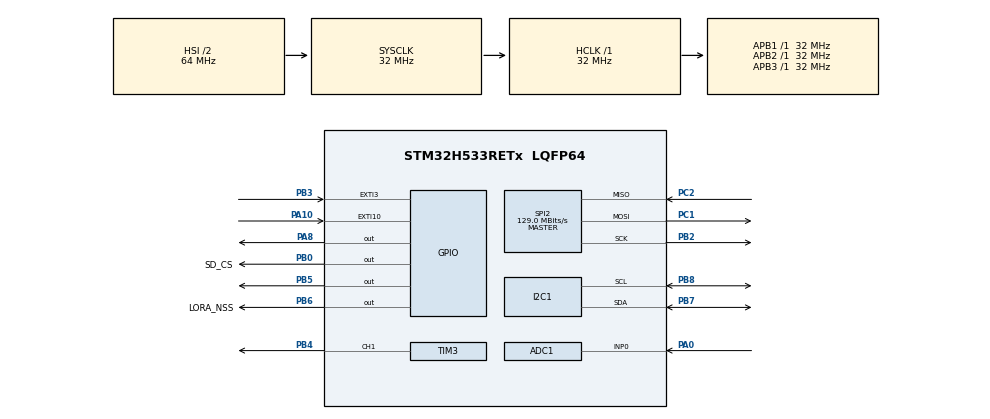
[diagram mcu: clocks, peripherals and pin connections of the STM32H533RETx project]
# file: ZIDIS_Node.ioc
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ADC1.Channel-0\#ChannelRegularConversion=ADC_CHANNEL_0
ADC1.Channel-1\#ChannelRegularConversion=ADC_CHANNEL_0
ADC1.MonitoredBy-0\#ChannelRegularConversion=__NULL
ADC1.MonitoredBy-1\#ChannelRegularConversion=__NULL
ADC1.NbrOfConversion=2
ADC1.NbrOfConversionFlag=1
ADC1.OffsetNumber-0\#ChannelRegularConversion=ADC_OFFSET_NONE
ADC1.OffsetNumber-1\#ChannelRegularConversion=ADC_OFFSET_NONE
ADC1.Rank-0\#ChannelRegularConversion=1
ADC1.Rank-1\#ChannelRegularConversion=2
ADC1.SamplingTime-0\#ChannelRegularConversion=ADC_SAMPLETIME_247CYCLES_5
ADC1.SamplingTime-1\#ChannelRegularConversion=ADC_SAMPLETIME_247CYCLES_5
ADC1.master=1
BOOTPATH.BootPathName=LEGACY
BOOTPATH.UserSelectedBootPath=LEGACY
CORTEX_M33_NS.Number-Cortex_Memory_Protection_Unit_Region0_OTP_RO_AREAS_Settings=MPU_REGION_NUMBER0
CORTEX_M33_NS.default_mode_Activation=1
CORTEX_M33_NS.userName=CORTEX_M33
I2C1.Timing=0x00707CBB
Mcu.Family=STM32H5
Mcu.Name=STM32H533RETx
Mcu.Package=LQFP64
NUCLEO-H533RE.BUTTON=1
NUCLEO-H533RE.Bsp_Common_DEMO=true
NUCLEO-H533RE.LD4=true
NUCLEO-H533RE.VCP=true
NVIC.EXTI10_IRQn=true\:0\:0\:false\:false\:true\:true\:true\:true
NVIC.EXTI3_IRQn=true\:0\:0\:false\:false\:true\:true\:true\:true
NVIC.PriorityGroup=NVIC_PRIORITYGROUP_4
NVIC.TIM6_IRQn=true\:15\:0\:false\:false\:true\:false\:true\:true
NVIC.TimeBase=TIM6_IRQn
NVIC.TimeBaseIP=TIM6
PA0.Signal=ADCx_INP0
PA1.Signal=ADCx_INP1
PA10.Signal=GPXTI10
PA13(JTMS/SWDIO).GPIO_Label=SWDIO
PA13(JTMS/SWDIO).Signal=DEBUG_JTMS-SWDIO
PA14(JTCK/SWCLK).GPIO_Label=SWCLK
PA14(JTCK/SWCLK).Signal=DEBUG_JTCK-SWCLK
PA15(JTDI).GPIO_Label=JTDI
PA15(JTDI).Signal=DEBUG_JTDI
PA2.Signal=USART2_TX
PA3.Signal=USART2_RX
PA8.Signal=GPIO_Output
PB0.GPIO_Label=SD_CS
PB0.Signal=GPIO_Output
PB2.Mode=Full_Duplex_Master
PB2.Signal=SPI2_SCK
PB3(JTDO/TRACESWO).Signal=GPXTI3
PB4(NJTRST).Signal=S_TIM3_CH1
PB5.Signal=GPIO_Output
PB6.GPIO_Label=LORA_NSS
PB6.Signal=GPIO_Output
PB7.Mode=I2C
PB7.Signal=I2C1_SDA
PB8.Mode=I2C
PB8.Signal=I2C1_SCL
PC1.Mode=Full_Duplex_Master
PC1.Signal=SPI2_MOSI
PC2.Mode=Full_Duplex_Master
PC2.Signal=SPI2_MISO
ProjectManager.HeapSize=0x200
ProjectManager.StackSize=0x400
ProjectManager.TargetToolchain=STM32CubeIDE
RCC.ADCFreq_Value=32000000
RCC.AHBFreq_Value=32000000
RCC.APB1Freq_Value=32000000
RCC.APB1TimFreq_Value=32000000
RCC.APB2Freq_Value=32000000
RCC.APB2TimFreq_Value=32000000
RCC.APB3Freq_Value=32000000
RCC.CSI_VALUE=4000000
RCC.CortexFreq_Value=32000000
RCC.EPOD_VALUE=4000000
RCC.HCLKFreq_Value=32000000
RCC.HSE_VALUE=25000000
RCC.HSI48_VALUE=48000000
RCC.HSI_VALUE=64000000
RCC.LSE_VALUE=32768
RCC.LSIRC_VALUE=32000
RCC.PLL2FRACN=0
RCC.PLL3FRACN=0
RCC.PLLFRACN=0
RCC.SYSCLKFreq_VALUE=32000000
RCC.USBFreq_Value=48000000
RCC.VCOOutputFreq_Value=516000000
SH.ADCx_INP0.0=ADC1_INP0,IN0-Single-Ended
SH.ADCx_INP1.0=ADC1_INP1
SH.S_TIM3_CH1.0=TIM3_CH1,PWM Generation1 CH1
SPI2.CalculateBaudRate=129.0 MBits/s
SPI2.Direction=SPI_DIRECTION_2LINES
SPI2.Mode=SPI_MODE_MASTER
SPI2.VirtualType=VM_MASTER
TIM3.Channel-PWM\ Generation1\ CH1=TIM_CHANNEL_1
TIM3.PeriodNoDither=999
TIM3.Prescaler=31
VP_BOOTPATH_VS_BOOTPATH.Mode=BP_Activate
VP_CORTEX_M33_NS_VS_Hclk.Mode=Hclk_Mode
VP_ICACHE_VS_ICACHE.Mode=DirectMappedCache
VP_MEMORYMAP_VS_MEMORYMAP.Mode=CurAppReg
VP_NUCLEO-H533RE_VS_BSP_COMMON.Mode=COMMON
VP_PWR_VS_LPOM.Mode=PowerOptimisation
VP_PWR_VS_SECSignals.Mode=Security/Privilege
VP_SYS_VS_tim6.Mode=TIM6
VP_TIM3_VS_ClockSourceINT.Mode=Internal
board=NUCLEO-H533RE

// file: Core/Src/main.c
/* USER CODE BEGIN Header */
/**
  ******************************************************************************
  * @file           : main.c
  * @brief          : Main program body
  ******************************************************************************
  * @attention
  *
  * Copyright (c) 2026 STMicroelectronics.
  * All rights reserved.
  *
  * This software is licensed under terms that can be found in the LICENSE file
  * in the root directory of this software component.
  * If no LICENSE file comes with this software, it is provided AS-IS.
  *
  ******************************************************************************
  */
/* USER CODE END Header */
#include "main.h"
#include <stdio.h> // Added for printf

/* USER CODE BEGIN Includes */
#include <tk/tkernel.h>
#include "zidis_core/config.h"
#include "zidis_core/dsp.h"
#include "zidis_core/mlp.h"
#include "zidis_core/protocol.h"
#include "zidis_core/seismic_gen.h"
#include "zidis_core/real_earthquake_data.h"
#include <stdlib.h>
#include <math.h>
#include <tm/tmonitor.h>
/* USER CODE END Includes */

COM_InitTypeDef BspCOMInit;
__IO uint32_t BspButtonState = BUTTON_RELEASED;
ADC_HandleTypeDef hadc1;

I2C_HandleTypeDef hi2c1;

SPI_HandleTypeDef hspi2;

TIM_HandleTypeDef htim3;

/* USER CODE BEGIN PV */
// Variables to store your sensor readings
uint32_t soil_moisture = 0;
uint32_t water_level = 0;
/* USER CODE END PV */

void SystemClock_Config(void);
static void MPU_Config(void);
static void MX_GPIO_Init(void);
static void MX_ADC1_Init(void);
static void MX_ICACHE_Init(void);
static void MX_TIM3_Init(void);
static void MX_I2C1_Init(void);
static void MX_SPI2_Init(void);
/* USER CODE BEGIN PFP */
void UART_Print(const char* str);
/* USER CODE END PFP */

int main(void)
{

  /* MCU Configuration--------------------------------------------------------*/

  /* MPU Configuration--------------------------------------------------------*/
  MPU_Config();

  /* Reset of all peripherals, Initializes the Flash interface and the Systick. */
  HAL_Init();

  /* Configure the system clock */
  SystemClock_Config();

  /* Initialize all configured peripherals */
  MX_GPIO_Init();
  MX_ADC1_Init();
  MX_ICACHE_Init();
  MX_TIM3_Init();
  MX_I2C1_Init();
  MX_SPI2_Init();

  /* USER CODE BEGIN 2 */

  // 1. Start the PWM Siren on TIM3 Channel 1
  HAL_TIM_PWM_Start(&htim3, TIM_CHANNEL_1);

  // 2. Hardware Power-On Self-Test (POST): 150ms test chirp at 1 kHz to verify buzzer wiring
  __HAL_TIM_SET_COMPARE(&htim3, TIM_CHANNEL_1, 500);
  HAL_Delay(150);
  __HAL_TIM_SET_COMPARE(&htim3, TIM_CHANNEL_1, 0); // Silence until earthquake triggers

  /* USER CODE END 2 */

  /* Initialize leds */
  BSP_LED_Init(LED_GREEN);

  /* Initialize USER push-button, will be used to trigger an interrupt each time it's pressed.*/
  BSP_PB_Init(BUTTON_USER, BUTTON_MODE_EXTI);

  /* Initialize COM1 port (115200, 8 bits (7-bit data + 1 stop bit), no parity */
  BspCOMInit.BaudRate   = 115200;
  BspCOMInit.WordLength = COM_WORDLENGTH_8B;
  BspCOMInit.StopBits   = COM_STOPBITS_1;
  BspCOMInit.Parity     = COM_PARITY_NONE;
  BspCOMInit.HwFlowCtl  = COM_HWCONTROL_NONE;
  if (BSP_COM_Init(COM1, &BspCOMInit) != BSP_ERROR_NONE)
  {
    Error_Handler();
  }

  /* USER CODE BEGIN BSP */

  /* -- Sample board code to send message over COM1 port ---- */
  UART_Print("\r\n=======================================\r\n");
  UART_Print(" ZIDIS Earthquake Node - System Booting \r\n");
  UART_Print("=======================================\r\n");

  /* -- Sample board code to switch on leds ---- */
  BSP_LED_Off(LED_GREEN);

  // --- BOOT uT-KERNEL ---
  extern void knl_start_mtkernel(void);
  knl_start_mtkernel(); // Jump into the RTOS (Never returns!)

  /* USER CODE END BSP */

  /* Infinite loop */
  while (1)
  {

  }
}

void SystemClock_Config(void)
{
  RCC_OscInitTypeDef RCC_OscInitStruct = {0};
  RCC_ClkInitTypeDef RCC_ClkInitStruct = {0};

  /** Configure the main internal regulator output voltage
  */
  __HAL_PWR_VOLTAGESCALING_CONFIG(PWR_REGULATOR_VOLTAGE_SCALE3);

  while(!__HAL_PWR_GET_FLAG(PWR_FLAG_VOSRDY)) {}

  /** Initializes the RCC Oscillators according to the specified parameters
  * in the RCC_OscInitTypeDef structure.
  */
  RCC_OscInitStruct.OscillatorType = RCC_OSCILLATORTYPE_HSI|RCC_OSCILLATORTYPE_CSI;
  RCC_OscInitStruct.HSIState = RCC_HSI_ON;
  RCC_OscInitStruct.HSIDiv = RCC_HSI_DIV2;
  RCC_OscInitStruct.HSICalibrationValue = RCC_HSICALIBRATION_DEFAULT;
  RCC_OscInitStruct.CSIState = RCC_CSI_ON;
  RCC_OscInitStruct.CSICalibrationValue = RCC_CSICALIBRATION_DEFAULT;
  RCC_OscInitStruct.PLL.PLLState = RCC_PLL_ON;
  RCC_OscInitStruct.PLL.PLLSource = RCC_PLL1_SOURCE_CSI;
  RCC_OscInitStruct.PLL.PLLM = 1;
  RCC_OscInitStruct.PLL.PLLN = 129;
  RCC_OscInitStruct.PLL.PLLP = 2;
  RCC_OscInitStruct.PLL.PLLQ = 2;
  RCC_OscInitStruct.PLL.PLLR = 2;
  RCC_OscInitStruct.PLL.PLLRGE = RCC_PLL1_VCIRANGE_2;
  RCC_OscInitStruct.PLL.PLLVCOSEL = RCC_PLL1_VCORANGE_WIDE;
  RCC_OscInitStruct.PLL.PLLFRACN = 0;
  if (HAL_RCC_OscConfig(&RCC_OscInitStruct) != HAL_OK)
  {
    Error_Handler();
  }

  /** Initializes the CPU, AHB and APB buses clocks
  */
  RCC_ClkInitStruct.ClockType = RCC_CLOCKTYPE_HCLK|RCC_CLOCKTYPE_SYSCLK
                              |RCC_CLOCKTYPE_PCLK1|RCC_CLOCKTYPE_PCLK2
                              |RCC_CLOCKTYPE_PCLK3;
  RCC_ClkInitStruct.SYSCLKSource = RCC_SYSCLKSOURCE_HSI;
  RCC_ClkInitStruct.AHBCLKDivider = RCC_SYSCLK_DIV1;
  RCC_ClkInitStruct.APB1CLKDivider = RCC_HCLK_DIV1;
  RCC_ClkInitStruct.APB2CLKDivider = RCC_HCLK_DIV1;
  RCC_ClkInitStruct.APB3CLKDivider = RCC_HCLK_DIV1;

  if (HAL_RCC_ClockConfig(&RCC_ClkInitStruct, FLASH_LATENCY_1) != HAL_OK)
  {
    Error_Handler();
  }

  /** Configure the programming delay
  */
  __HAL_FLASH_SET_PROGRAM_DELAY(FLASH_PROGRAMMING_DELAY_0);
}

static void MX_ADC1_Init(void)
{

  ADC_ChannelConfTypeDef sConfig = {0};

  /** Common config
  */
  hadc1.Instance = ADC1;
  hadc1.Init.ClockPrescaler = ADC_CLOCK_ASYNC_DIV1;
  hadc1.Init.Resolution = ADC_RESOLUTION_12B;
  hadc1.Init.DataAlign = ADC_DATAALIGN_RIGHT;
  hadc1.Init.ScanConvMode = ADC_SCAN_ENABLE;
  hadc1.Init.EOCSelection = ADC_EOC_SINGLE_CONV;
  hadc1.Init.LowPowerAutoWait = DISABLE;
  hadc1.Init.ContinuousConvMode = DISABLE;
  hadc1.Init.NbrOfConversion = 2;
  hadc1.Init.DiscontinuousConvMode = DISABLE;
  hadc1.Init.ExternalTrigConv = ADC_SOFTWARE_START;
  hadc1.Init.ExternalTrigConvEdge = ADC_EXTERNALTRIGCONVEDGE_NONE;
  hadc1.Init.DMAContinuousRequests = DISABLE;
  hadc1.Init.SamplingMode = ADC_SAMPLING_MODE_NORMAL;
  hadc1.Init.Overrun = ADC_OVR_DATA_PRESERVED;
  hadc1.Init.OversamplingMode = DISABLE;
  if (HAL_ADC_Init(&hadc1) != HAL_OK)
  {
    Error_Handler();
  }

  /** Configure Regular Channel
  */
  sConfig.Channel = ADC_CHANNEL_0;
  sConfig.Rank = ADC_REGULAR_RANK_1;
  sConfig.SamplingTime = ADC_SAMPLETIME_247CYCLES_5;
  sConfig.SingleDiff = ADC_SINGLE_ENDED;
  sConfig.OffsetNumber = ADC_OFFSET_NONE;
  sConfig.Offset = 0;
  if (HAL_ADC_ConfigChannel(&hadc1, &sConfig) != HAL_OK)
  {
    Error_Handler();
  }

  /** Configure Regular Channel
  */
  sConfig.Rank = ADC_REGULAR_RANK_2;
  if (HAL_ADC_ConfigChannel(&hadc1, &sConfig) != HAL_OK)
  {
    Error_Handler();
  }

}

static void MX_I2C1_Init(void)
{

  hi2c1.Instance = I2C1;
  hi2c1.Init.Timing = 0x00707CBB;
  hi2c1.Init.OwnAddress1 = 0;
  hi2c1.Init.AddressingMode = I2C_ADDRESSINGMODE_7BIT;
  hi2c1.Init.DualAddressMode = I2C_DUALADDRESS_DISABLE;
  hi2c1.Init.OwnAddress2 = 0;
  hi2c1.Init.OwnAddress2Masks = I2C_OA2_NOMASK;
  hi2c1.Init.GeneralCallMode = I2C_GENERALCALL_DISABLE;
  hi2c1.Init.NoStretchMode = I2C_NOSTRETCH_DISABLE;
  if (HAL_I2C_Init(&hi2c1) != HAL_OK)
  {
    Error_Handler();
  }

  /** Configure Analogue filter
  */
  if (HAL_I2CEx_ConfigAnalogFilter(&hi2c1, I2C_ANALOGFILTER_ENABLE) != HAL_OK)
  {
    Error_Handler();
  }

  /** Configure Digital filter
  */
  if (HAL_I2CEx_ConfigDigitalFilter(&hi2c1, 0) != HAL_OK)
  {
    Error_Handler();
  }

}

static void MX_ICACHE_Init(void)
{

  /** Enable instruction cache in 1-way (direct mapped cache)
  */
  if (HAL_ICACHE_ConfigAssociativityMode(ICACHE_1WAY) != HAL_OK)
  {
    Error_Handler();
  }
  if (HAL_ICACHE_Enable() != HAL_OK)
  {
    Error_Handler();
  }

}

static void MX_SPI2_Init(void)
{

  /* SPI2 parameter configuration*/
  hspi2.Instance = SPI2;
  hspi2.Init.Mode = SPI_MODE_MASTER;
  hspi2.Init.Direction = SPI_DIRECTION_2LINES;
  hspi2.Init.DataSize = SPI_DATASIZE_4BIT;
  hspi2.Init.CLKPolarity = SPI_POLARITY_LOW;
  hspi2.Init.CLKPhase = SPI_PHASE_1EDGE;
  hspi2.Init.NSS = SPI_NSS_SOFT;
  hspi2.Init.BaudRatePrescaler = SPI_BAUDRATEPRESCALER_2;
  hspi2.Init.FirstBit = SPI_FIRSTBIT_MSB;
  hspi2.Init.TIMode = SPI_TIMODE_DISABLE;
  hspi2.Init.CRCCalculation = SPI_CRCCALCULATION_DISABLE;
  hspi2.Init.CRCPolynomial = 0x7;
  hspi2.Init.NSSPMode = SPI_NSS_PULSE_ENABLE;
  hspi2.Init.NSSPolarity = SPI_NSS_POLARITY_LOW;
  hspi2.Init.FifoThreshold = SPI_FIFO_THRESHOLD_01DATA;
  hspi2.Init.MasterSSIdleness = SPI_MASTER_SS_IDLENESS_00CYCLE;
  hspi2.Init.MasterInterDataIdleness = SPI_MASTER_INTERDATA_IDLENESS_00CYCLE;
  hspi2.Init.MasterReceiverAutoSusp = SPI_MASTER_RX_AUTOSUSP_DISABLE;
  hspi2.Init.MasterKeepIOState = SPI_MASTER_KEEP_IO_STATE_DISABLE;
  hspi2.Init.IOSwap = SPI_IO_SWAP_DISABLE;
  hspi2.Init.ReadyMasterManagement = SPI_RDY_MASTER_MANAGEMENT_INTERNALLY;
  hspi2.Init.ReadyPolarity = SPI_RDY_POLARITY_HIGH;
  if (HAL_SPI_Init(&hspi2) != HAL_OK)
  {
    Error_Handler();
  }

}

static void MX_TIM3_Init(void)
{

  TIM_ClockConfigTypeDef sClockSourceConfig = {0};
  TIM_MasterConfigTypeDef sMasterConfig = {0};
  TIM_OC_InitTypeDef sConfigOC = {0};

  htim3.Instance = TIM3;
  htim3.Init.Prescaler = 31;
  htim3.Init.CounterMode = TIM_COUNTERMODE_UP;
  htim3.Init.Period = 999;
  htim3.Init.ClockDivision = TIM_CLOCKDIVISION_DIV1;
  htim3.Init.AutoReloadPreload = TIM_AUTORELOAD_PRELOAD_DISABLE;
  if (HAL_TIM_Base_Init(&htim3) != HAL_OK)
  {
    Error_Handler();
  }
  sClockSourceConfig.ClockSource = TIM_CLOCKSOURCE_INTERNAL;
  if (HAL_TIM_ConfigClockSource(&htim3, &sClockSourceConfig) != HAL_OK)
  {
    Error_Handler();
  }
  if (HAL_TIM_PWM_Init(&htim3) != HAL_OK)
  {
    Error_Handler();
  }
  sMasterConfig.MasterOutputTrigger = TIM_TRGO_RESET;
  sMasterConfig.MasterSlaveMode = TIM_MASTERSLAVEMODE_DISABLE;
  if (HAL_TIMEx_MasterConfigSynchronization(&htim3, &sMasterConfig) != HAL_OK)
  {
    Error_Handler();
  }
  sConfigOC.OCMode = TIM_OCMODE_PWM1;
  sConfigOC.Pulse = 0;
  sConfigOC.OCPolarity = TIM_OCPOLARITY_HIGH;
  sConfigOC.OCFastMode = TIM_OCFAST_DISABLE;
  if (HAL_TIM_PWM_ConfigChannel(&htim3, &sConfigOC, TIM_CHANNEL_1) != HAL_OK)
  {
    Error_Handler();
  }
  HAL_TIM_MspPostInit(&htim3);

}

static void MX_GPIO_Init(void)
{
  GPIO_InitTypeDef GPIO_InitStruct = {0};

  /* GPIO Ports Clock Enable */
  __HAL_RCC_GPIOC_CLK_ENABLE();
  __HAL_RCC_GPIOA_CLK_ENABLE();
  __HAL_RCC_GPIOB_CLK_ENABLE();

  /*Configure GPIO pin Output Level */
  HAL_GPIO_WritePin(GPIOB, SD_CS_Pin|GPIO_PIN_5|LORA_NSS_Pin, GPIO_PIN_RESET);

  /*Configure GPIO pin Output Level */
  HAL_GPIO_WritePin(GPIOA, GPIO_PIN_8, GPIO_PIN_RESET);

  /*Configure GPIO pins : SD_CS_Pin PB5 LORA_NSS_Pin */
  GPIO_InitStruct.Pin = SD_CS_Pin|GPIO_PIN_5|LORA_NSS_Pin;
  GPIO_InitStruct.Mode = GPIO_MODE_OUTPUT_PP;
  GPIO_InitStruct.Pull = GPIO_NOPULL;
  GPIO_InitStruct.Speed = GPIO_SPEED_FREQ_LOW;
  HAL_GPIO_Init(GPIOB, &GPIO_InitStruct);

  /*Configure GPIO pin : PA8 */
  GPIO_InitStruct.Pin = GPIO_PIN_8;
  GPIO_InitStruct.Mode = GPIO_MODE_OUTPUT_PP;
  GPIO_InitStruct.Pull = GPIO_NOPULL;
  GPIO_InitStruct.Speed = GPIO_SPEED_FREQ_LOW;
  HAL_GPIO_Init(GPIOA, &GPIO_InitStruct);

  /*Configure GPIO pin : PA10 */
  GPIO_InitStruct.Pin = GPIO_PIN_10;
  GPIO_InitStruct.Mode = GPIO_MODE_IT_RISING;
  GPIO_InitStruct.Pull = GPIO_NOPULL;
  HAL_GPIO_Init(GPIOA, &GPIO_InitStruct);

  /*Configure GPIO pin : PB3 */
  GPIO_InitStruct.Pin = GPIO_PIN_3;
  GPIO_InitStruct.Mode = GPIO_MODE_IT_RISING;
  GPIO_InitStruct.Pull = GPIO_NOPULL;
  HAL_GPIO_Init(GPIOB, &GPIO_InitStruct);

  /* EXTI interrupt init*/
  HAL_NVIC_SetPriority(EXTI3_IRQn, 0, 0);
  HAL_NVIC_EnableIRQ(EXTI3_IRQn);

  HAL_NVIC_SetPriority(EXTI10_IRQn, 0, 0);
  HAL_NVIC_EnableIRQ(EXTI10_IRQn);

}

/* MPU Configuration */

void MPU_Config(void)
{
  MPU_Region_InitTypeDef MPU_InitStruct = {0};
  MPU_Attributes_InitTypeDef MPU_AttributesInit = {0};

  /* Disables the MPU */
  HAL_MPU_Disable();

  /** Initializes and configures the Region 0 and the memory to be protected
  */
  MPU_InitStruct.Enable = MPU_REGION_ENABLE;
  MPU_InitStruct.Number = MPU_REGION_NUMBER0;
  MPU_InitStruct.BaseAddress = 0x08FFF000;
  MPU_InitStruct.LimitAddress = 0x08FFFFFF;
  MPU_InitStruct.AttributesIndex = MPU_ATTRIBUTES_NUMBER0;
  MPU_InitStruct.AccessPermission = MPU_REGION_ALL_RO;
  MPU_InitStruct.DisableExec = MPU_INSTRUCTION_ACCESS_DISABLE;
  MPU_InitStruct.IsShareable = MPU_ACCESS_NOT_SHAREABLE;

  HAL_MPU_ConfigRegion(&MPU_InitStruct);

  /** Initializes and configures the Attribute 0 and the memory to be protected
  */
  MPU_AttributesInit.Number = MPU_ATTRIBUTES_NUMBER0;
  MPU_AttributesInit.Attributes = INNER_OUTER(MPU_NOT_CACHEABLE);

  HAL_MPU_ConfigMemoryAttributes(&MPU_AttributesInit);
  /* Enables the MPU */
  HAL_MPU_Enable(MPU_PRIVILEGED_DEFAULT);

}

void HAL_TIM_PeriodElapsedCallback(TIM_HandleTypeDef *htim)
{
  if (htim->Instance == TIM6)
  {
    HAL_IncTick();
  }
}

/**
  * @brief  BSP Push Button callback
  * @param  Button Specifies the pressed button
  * @retval None
  */
void BSP_PB_Callback(Button_TypeDef Button)
{
  if (Button == BUTTON_USER)
  {
    BspButtonState = BUTTON_PRESSED;
  }
}

void Error_Handler(void)
{
  __disable_irq();
  while (1)
  {
  }
}

/* USER CODE BEGIN 4 */

/* ========================================================================= */
/*                          RTOS OBJECT DEFINITIONS                          */
/* ========================================================================= */
ID flg_detect;     // Event flag to wake up T_DETECT
ID mbf_claim;      // Message buffer for internal claims
ID tsk_sense;
ID tsk_detect;
ID tsk_consensus;
ID tsk_net;
ID tsk_diag;

// Cyclic handler ID
ID cyc_sense;

// Global State
DspState_t g_dsp_state;
ProtocolState_t g_proto_state;
SeismicGenState_t g_seismic_gen;
AnalyserState_t g_analyser_state;

// User I/O & Watchdog Tracking (#13, #15)
volatile bool g_alarm_silenced = false;
volatile uint32_t g_sense_heartbeat = 0;

// Helper to get time in ms
static uint32_t get_system_time_ms(void) {
    SYSTIM sys_time;
    tk_get_otm(&sys_time);
    return sys_time.lo;
}

// ── Autonomous Sensor Data Generation ──
// When USE_REAL_EARTHQUAKE_DATA is 1, streams recorded 2011 Tohoku Mw 9.1 P-wave data
// When 0, uses SeismicGen module for synthetic P-wave simulation.
static float get_sensor_data(uint32_t time_ms) {
#if USE_REAL_EARTHQUAKE_DATA
    static uint32_t sample_idx = 0;
    float s = real_earthquake_samples[sample_idx];
    sample_idx = (sample_idx + 1) % REAL_EARTHQUAKE_SAMPLE_COUNT;
    return s;
#else
    return SeismicGen_GetSample(&g_seismic_gen, time_ms);
#endif
}

/* ========================================================================= */
/*                            uT-KERNEL TASKS                                */
/* ========================================================================= */

extern UART_HandleTypeDef hcom_uart[];
void knl_hardfault_handler(void) {
    char* msg = "\r\n*** HARD FAULT ***\r\n";
    int len = 0; while(msg[len]) len++;
    HAL_UART_Transmit(&hcom_uart[0], (uint8_t*)msg, len, 1000);
    while(1);
}

// Custom UART Print to bypass Newlib printf completely
extern UART_HandleTypeDef hcom_uart[];
void UART_Print(const char* str) {
    int len = 0;
    while(str[len]) len++;
    HAL_UART_Transmit(&hcom_uart[0], (uint8_t*)str, len, 1000);
}

// Send a sample value over UART for live plotting
// Format: "D:<integer>\r\n" where integer = sample * 1000
// This avoids printf/snprintf entirely.
static void UART_PrintSample(float sample) {
    char buf[16];
    int idx = 0;
    buf[idx++] = 'D';
    buf[idx++] = ':';

    // Convert float to integer (scale by 1000 for 3 decimal places)
    int val = (int)(sample * 1000.0f);

    // Handle negative
    if (val < 0) {
        buf[idx++] = '-';
        val = -val;
    }

    // Convert integer to string (reverse then flip)
    if (val == 0) {
        buf[idx++] = '0';
    } else {
        char digits[8];
        int d = 0;
        while (val > 0 && d < 7) {
            digits[d++] = '0' + (val % 10);
            val /= 10;
        }
        // Reverse
        for (int i = d - 1; i >= 0; i--) {
            buf[idx++] = digits[i];
        }
    }
    buf[idx++] = '\r';
    buf[idx++] = '\n';

    HAL_UART_Transmit(&hcom_uart[0], (uint8_t*)buf, idx, 100);
}

// --- 10ms Cyclic Handler ---
void SenseCyclicHandler(void *exinf) {
    // Wake up T_SENSE
    tk_set_flg(flg_detect, 0x02);
}

// --- T_SENSE Task (Priority 10 - Medium) ---
void Task_Sense(INT stacd, void *exinf) {
    UART_Print("[T_SENSE] Task Started (Phase 2 - Autonomous Mode).\r\n");
    UINT flgptn;

    while(1) {
        // Wait for 10ms cyclic handler signal
        tk_wai_flg(flg_detect, 0x02, TWF_ANDW | TWF_CLR, &flgptn, TMO_FEVR);

        uint32_t now = get_system_time_ms();
        g_sense_heartbeat = now; // Watchdog heartbeat (#13)
        float sample = get_sensor_data(now);

        // Stream sample over UART for live plotting (format: "D:<value>\r\n")
        UART_PrintSample(sample);

        // ── Run the Seismic Analyser on every sample ──
        bool anomaly = Analyser_ProcessSample(&g_analyser_state, sample, now);

        // Sensor fault diagnostics (#13)
        if (g_analyser_state.fault_status != SENSOR_OK) {
            static uint32_t last_fault_report = 0;
            if (now - last_fault_report > 3000) {
                if (g_analyser_state.fault_status == SENSOR_FAULT_FLATLINE)
                    UART_Print("[FAULT] SENSOR FLATLINE: Zero signal variance detected (check sensor wire)!\r\n");
                else if (g_analyser_state.fault_status == SENSOR_FAULT_CLIPPED)
                    UART_Print("[FAULT] SENSOR SATURATION: Signal pegged at rail!\r\n");
                else
                    UART_Print("[FAULT] SENSOR DATA INVALID: NaN/Inf reading!\r\n");
                last_fault_report = now;
            }
        }

        if (anomaly) {
            // Real detection latency and S-P warning calculation (#5)
            char msg[140];
            int len = snprintf(msg, sizeof(msg),
                "[T_SENSE] *** ANOMALY DETECTED *** Latency: %lu ms | Warning: 3.0s @25km, 6.0s @50km, 12.0s @100km (0.12 s/km)\r\n",
                (unsigned long)g_analyser_state.detection_latency_ms);
            HAL_UART_Transmit(&hcom_uart[0], (uint8_t*)msg, len, 100);
        }

        // Process sample through STA/LTA + windowing for feature extraction
        // The DSP module collects 128 samples after trigger for MLP classification
        if (Dsp_ProcessSample(&g_dsp_state, sample)) {
            // Window is full! Wake up T_DETECT
            UART_Print("[T_SENSE] Window full -> waking T_DETECT\r\n");
            tk_set_flg(flg_detect, 0x01);
        }
    }
}

// --- T_DETECT Task (Priority 5) ---
void Task_Detect(INT stacd, void *exinf) {
    UART_Print("[T_DETECT] Task Started.\r\n");
    UINT flgptn;
    ZidisFeatures_t features;

    while(1) {
        // Wait for T_SENSE to signal window is full
        tk_wai_flg(flg_detect, 0x01, TWF_ANDW | TWF_CLR, &flgptn, TMO_FEVR);

        UART_Print("[T_DETECT] Triggered! Extracting features...\r\n");

        Dsp_ExtractFeatures(&g_dsp_state, &features);

        float confidence;
        EventClass_t evt = Mlp_Classify(&features, &confidence);

        if (evt == EVENT_EARTHQUAKE) {
            UART_Print("[T_DETECT] Earthquake Event Detected!\r\n");
            ClaimPacket_t claim;
            claim.source_node = ZIDIS_NODE_ID_SELF;
            claim.sequence_num = get_system_time_ms();
            claim.timestamp_ms = get_system_time_ms();
            claim.event_class = evt;
            claim.confidence = confidence;

            // Send to consensus task (and to T_NET to broadcast)
            tk_snd_mbf(mbf_claim, &claim, sizeof(ClaimPacket_t), TMO_FEVR);
        }

        // Reset window state in DSP
        g_dsp_state.window_full = false;
        g_dsp_state.window_idx = 0;
    }
}

// --- T_CONSENSUS Task (Priority 7) ---
void Task_Consensus(INT stacd, void *exinf) {
    UART_Print("[T_CONSENSUS] Task Started (Phase 2 - Autonomous Mode).\r\n");
    ClaimPacket_t claim;
    AlertLevel_t last_alert = ALERT_NONE;

    while(1) {
        // We can wait with timeout to run periodic ticks
        if (tk_rcv_mbf(mbf_claim, &claim, 100) >= 0) {
            // Received a claim (from local T_DETECT or remote T_NET)
            Protocol_OnClaimRx(&g_proto_state, &claim);
        }

        // Tick protocol
        Protocol_Tick(&g_proto_state, get_system_time_ms());

        // Evaluate Quorum
        AlertLevel_t new_alert = Protocol_EvaluateQuorum(&g_proto_state);

        // Check User Push-Button (GPIO PC13) for Alarm Silence (#15)
        if (BspButtonState == BUTTON_PRESSED || BSP_PB_GetState(BUTTON_USER) == BUTTON_PRESSED) {
            BspButtonState = BUTTON_RELEASED;
            if (last_alert >= ALERT_L1_LOCAL && !g_alarm_silenced) {
                g_alarm_silenced = true;
                __HAL_TIM_SET_COMPARE(&htim3, TIM_CHANNEL_1, 0); // Mute siren
                UART_Print("[USER_IO] User Push-Button Pressed -> Siren Muted (Alarm Acknowledged).\r\n");
            }
        }

        // Hold-Off Before Clearing Alarm (#15)
        // If quorum drops to NONE while alert was active, hold the alarm for ALARM_HOLD_OFF_MS of quiet!
        static uint32_t quiet_onset_ms = 0;
        uint32_t now = get_system_time_ms();
        if (new_alert == ALERT_NONE && last_alert >= ALERT_L1_LOCAL) {
            if (quiet_onset_ms == 0) {
                quiet_onset_ms = now;
            }
            if (now - quiet_onset_ms < ALARM_HOLD_OFF_MS) {
                new_alert = last_alert; // Hold off clearing
            }
        } else {
            quiet_onset_ms = 0;
        }

        if (new_alert != last_alert) {
             if (new_alert >= ALERT_L1_LOCAL) {
                 if (new_alert >= ALERT_L2_CORROBORATED) {
                     UART_Print("[T_CONSENSUS] *** ALERT: CORROBORATED (FULL SIREN ACTIVE) ***\r\n");
                     if (!g_alarm_silenced) {
                         __HAL_TIM_SET_COMPARE(&htim3, TIM_CHANNEL_1, 500); // Full Siren: 50% duty
                     }
                     BSP_LED_On(LED_GREEN);
                 } else {
                     // Soft alert on preliminary/local detection (#5)
                     UART_Print("[T_CONSENSUS] *** ALERT: LOCAL (Soft Warning Beep) ***\r\n");
                     if (!g_alarm_silenced) {
                         __HAL_TIM_SET_COMPARE(&htim3, TIM_CHANNEL_1, 50);  // Soft beep: 5% duty
                     }
                     BSP_LED_Toggle(LED_GREEN);
                 }
             } else {
                 UART_Print("[T_CONSENSUS] *** ALERT: CLEAR / NORMAL (Hold-off expired) ***\r\n");
                 __HAL_TIM_SET_COMPARE(&htim3, TIM_CHANNEL_1, 0); // Siren OFF
                 BSP_LED_Off(LED_GREEN);
                 g_alarm_silenced = false; // Reset silence state for next event
             }
             last_alert = new_alert;
        }

        // Phase 2: No button-based state management needed.
        // Alarm is triggered and cleared automatically by the analyser + consensus.
    }
}

// --- T_NET Task (Priority 3) ---
void Task_Net(INT stacd, void *exinf) {
    UART_Print("[T_NET] Task Started (Phase 2 - Autonomous Mode).\r\n");
    uint32_t last_beacon = 0;

    while(1) {
        uint32_t now = get_system_time_ms();

        // Send Beacon every 1000ms
        if (now - last_beacon >= 1000) {
            BeaconPacket_t bcn;
            bcn.source_node = ZIDIS_NODE_ID_SELF;
            bcn.sequence_num = now;
            bcn.timestamp_ms = now;

            // Mock network: just feed it back to protocol as if it's alive
            Protocol_OnBeaconRx(&g_proto_state, &bcn);

            // Also pretend node 2 sent a beacon
            BeaconPacket_t bcn2;
            bcn2.source_node = 2;
            bcn2.sequence_num = now;
            bcn2.timestamp_ms = now;
            Protocol_OnBeaconRx(&g_proto_state, &bcn2);

            last_beacon = now;
        }

        // ── Auto-corroborate: when analyser detects anomaly, simulate node 2 agreeing ──
        // In Phase 2, this replaces the button-based mock claim.
        // When our local analyser fires, we simulate a remote node also detecting it.
        if (g_analyser_state.anomaly_detected) {
             ClaimPacket_t claim2;
             claim2.source_node = 2;
             claim2.sequence_num = now;
             claim2.timestamp_ms = now;
             claim2.event_class = EVENT_EARTHQUAKE;
             claim2.confidence = 0.85f;
             tk_snd_mbf(mbf_claim, &claim2, sizeof(ClaimPacket_t), TMO_FEVR);
             tk_dly_tsk(100);
        }

        tk_dly_tsk(100);
    }
}

// --- T_DIAG Task (Priority 15) ---
void Task_Diag(INT stacd, void *exinf) {
    UART_Print("[T_DIAG] Task Started (Watchdog Active).\r\n");
    int count = 0;
    while(1) {
        tk_dly_tsk(3000); // 3 seconds
        count++;
        uint32_t now = get_system_time_ms();

        // Software Watchdog (#13): Verify Task_Sense is executing
        if (g_sense_heartbeat > 0 && (now - g_sense_heartbeat > 3000)) {
            UART_Print("[WATCHDOG] WARNING: Task_Sense stalled (>3000ms without sample)!\r\n");
        }

        if (count == 1) UART_Print("[T_DIAG] System Healthy - μT-Kernel 3.0 Alive\r\n");
    }
}

// --- USERMAIN (Initial Thread Entry Point) ---
EXPORT INT usermain(void) {
    // Debug: If we reach here, turn on the LED and spin forever.
    // If the LED turns on but nothing prints, we know printf is crashing it.
    BSP_LED_On(LED_GREEN);

    // Direct HAL output test
    extern UART_HandleTypeDef hcom_uart[];
    char test_msg[] = "\r\n[DIRECT HAL] usermain is alive!\r\n";
    HAL_UART_Transmit(&hcom_uart[0], (uint8_t*)test_msg, sizeof(test_msg)-1, 1000);

    UART_Print("\r\n--- ZIDIS Earthquake EWS Phase 2 (Autonomous Mode) ---\r\n");
    UART_Print("   Seismic Generator: ON (random events)\r\n");
    UART_Print("   Seismic Analyser:  ON (multi-criteria)\r\n");
    UART_Print("   Button:            NOT USED\r\n");
    UART_Print("================================================\r\n");

    // Initialize Subsystems
    Dsp_Init(&g_dsp_state);
#if USE_REAL_EARTHQUAKE_DATA
    g_dsp_state.lta = 0.0005f;
    g_dsp_state.sta = 0.0005f;
#else
    g_dsp_state.lta = 0.25f;
    g_dsp_state.sta = 0.25f;
#endif
    Mlp_Init();
    Protocol_Init(&g_proto_state);

#if USE_REAL_EARTHQUAKE_DATA
    UART_Print("[BOOT] Input: Real 2011 Tohoku Mw 9.1 Earthquake Replay ON.\r\n");
#else
    // ── Phase 2: Initialize autonomous seismic generator ──
    SeismicGen_Init(&g_seismic_gen, HAL_GetTick()); // Seed with current tick
    UART_Print("[BOOT] Seismic Generator initialized.\r\n");
#endif

    // ── Phase 2: Initialize seismic analyser ──
    Analyser_Init(&g_analyser_state);
#if USE_REAL_EARTHQUAKE_DATA
    g_analyser_state.lta = 0.0005f;
    g_analyser_state.sta = 0.0005f;
#else
    g_analyser_state.lta = 0.025f;
    g_analyser_state.sta = 0.025f;
#endif
    UART_Print("[BOOT] Seismic Analyser initialized.\r\n");

    // Create Event Flags
    T_CFLG cflg = {0};
    cflg.flgatr = TA_TFIFO | TA_WMUL;
    flg_detect = tk_cre_flg(&cflg);

    // Create Message Buffers
    T_CMBF cmbf = {0};
    cmbf.mbfatr = TA_TFIFO;
    cmbf.bufsz = sizeof(ClaimPacket_t) * 10;
    cmbf.maxmsz = sizeof(ClaimPacket_t);
    mbf_claim = tk_cre_mbf(&cmbf);

    // Create Tasks
    T_CTSK ctsk = {0};
    ctsk.tskatr = TA_HLNG;
    ctsk.stksz = 2048;

    ctsk.task = Task_Sense;
    ctsk.itskpri = 10;
    tsk_sense = tk_cre_tsk(&ctsk);

    ctsk.task = Task_Detect;
    ctsk.itskpri = 5;
    tsk_detect = tk_cre_tsk(&ctsk);

    ctsk.task = Task_Consensus;
    ctsk.itskpri = 7;
    tsk_consensus = tk_cre_tsk(&ctsk);

    ctsk.task = Task_Net;
    ctsk.itskpri = 3;
    tsk_net = tk_cre_tsk(&ctsk);

    ctsk.task = Task_Diag;
    ctsk.itskpri = 15;
    tsk_diag = tk_cre_tsk(&ctsk);

    // Create Cyclic Handler
    T_CCYC ccyc = {0};
    ccyc.cycatr = TA_HLNG;

    ccyc.cychdr = SenseCyclicHandler;
    ccyc.cyctim = 10; // 10ms = 100Hz
    ccyc.cycphs = 10;
    cyc_sense = tk_cre_cyc(&ccyc);

    // Start everything
    tk_sta_tsk(tsk_sense, 0);
    tk_sta_tsk(tsk_detect, 0);
    tk_sta_tsk(tsk_consensus, 0);
    tk_sta_tsk(tsk_net, 0);
    tk_sta_tsk(tsk_diag, 0);

    tk_sta_cyc(cyc_sense);

    // Sleep forever so the RTOS scheduler can run the other tasks!
    // If usermain returns, T-Kernel triggers a full system shutdown.
    tk_slp_tsk(TMO_FEVR);

    return 0;
}

/* ========================================================================= */
/*              BOARD-SPECIFIC HARDWARE INIT/SHUTDOWN STUBS                  */
/* ========================================================================= */

EXPORT ER knl_init_device( void ) { return E_OK; }
EXPORT ER knl_start_device( void ) { return E_OK; }
EXPORT ER knl_finish_device( void ) { return E_OK; }
EXPORT void knl_shutdown_hw( void ) { while(1); }
EXPORT void knl_restart_hw( void ) { while(1); }
EXPORT void low_pow( void ) {
    __asm("nop");
}

/* Provide missing symbols required by uT-Kernel's sys_start.c */
EXPORT void knl_startup_hw(void) {
    // STM32 HAL already initialized hardware in main()
}

/* USER CODE END 4 */
